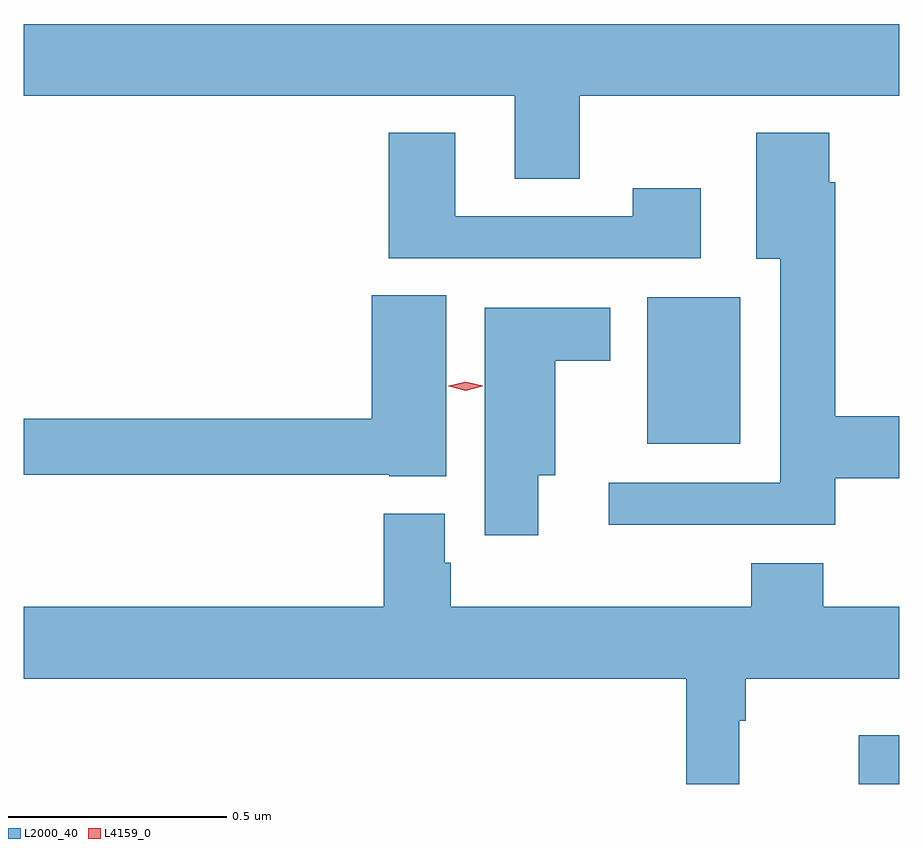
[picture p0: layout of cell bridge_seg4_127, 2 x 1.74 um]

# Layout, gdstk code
import gdstk
lib = gdstk.Library(unit=1e-6, precision=1e-09)
def R(c, l, rs):  # rectangles x0, y0, x1, y1
    for r in rs: c.add(gdstk.rectangle(r[:2], r[2:], *l))
def P(c, l, *ps):  # polygons
    for p in ps: c.add(gdstk.Polygon(p, *l))
L2000_40 = (2000, 40)
L4159_0 = (4159, 0)

bridge_seg4_127 = lib.new_cell('bridge_seg4_127')
R(bridge_seg4_127, L2000_40, [(343.817,751.291,343.909,751.402), (343.334,752.069,343.546,752.404)])
P(bridge_seg4_127, L2000_40, [(343.179,752.864),(343.909,752.864),(343.909,753.028),(341.909,753.028),(341.909,752.864),(343.031,752.864),(343.031,752.674),(343.179,752.674)],
  [(343.456,752.653),(343.3,752.653),(343.3,752.589),(342.895,752.589),(342.895,752.779),(342.743,752.779),(342.743,752.493),(343.456,752.493)],
  [(343.763,751.99),(343.909,751.99),(343.909,752.132),(343.763,752.132),(343.763,752.666),(343.75,752.666),(343.75,752.779),(343.583,752.779),(343.583,752.492),(343.637,752.492),(343.637,751.98),(343.245,751.98),(343.245,751.883),(343.763,751.883)],
  [(342.874,752.408),(342.704,752.408),(342.704,752.126),(341.909,752.126),(341.909,751.998),(342.744,751.998),(342.744,751.994),(342.874,751.994)],
  [(343.084,751.997),(343.123,751.997),(343.123,752.258),(343.249,752.258),(343.249,752.38),(342.962,752.38),(342.962,751.86),(343.084,751.86)],
  [(343.544,751.436),(343.559,751.436),(343.559,751.532),(343.909,751.532),(343.909,751.696),(343.736,751.696),(343.736,751.795),(343.571,751.795),(343.571,751.696),(342.884,751.696),(342.884,751.797),(342.871,751.797),(342.871,751.909),(342.731,751.909),(342.731,751.696),(341.909,751.696),(341.909,751.532),(343.423,751.532),(343.423,751.291),(343.544,751.291)])
P(bridge_seg4_127, L4159_0, [(342.919,752.19),(342.88,752.2),(342.879,752.2),(342.88,752.201),(342.919,752.21),(342.958,752.201),(342.958,752.2),(342.958,752.2)])

lib.write_gds('bridge_seg4_127.gds')
